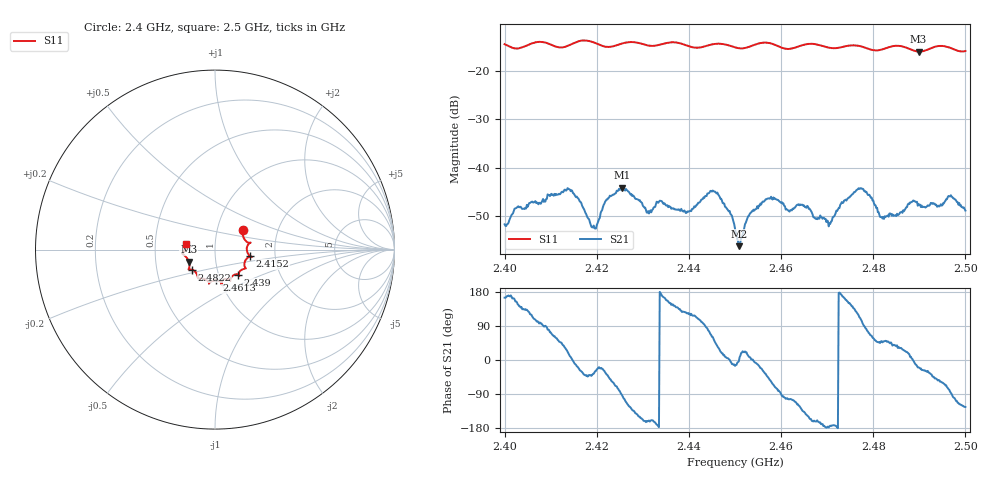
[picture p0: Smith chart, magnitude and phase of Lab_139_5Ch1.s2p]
# Hz S RI R 50
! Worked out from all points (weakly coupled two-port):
!   601 points, 2.4 GHz to 2.5 GHz, reference 50 ohm
!   highest |S21| = -44.22 dB at 2.4255 GHz (marker M1); lowest = -56.3 dB at 2.4508 GHz (marker M2)
!   lowest |S11| = -15.9 dB at 2.4898 GHz (marker M3), VSWR 1.38, Z = 37 - j5.04 ohm
!   |S11| at or under -10 dB: start of sweep to end of sweep
!   S12 and S22 are empty: the file has one direction only
!   S11 on the Smith chart (normalised r, x): 2.4 GHz: 1.33, +0.31; 2.4152 GHz: 1.48, -0.11; 2.439 GHz: 1.24, -0.36; 2.4613 GHz: 0.96, -0.34; 2.4822 GHz: 0.76, -0.17; 2.5 GHz: 0.72, +0.05
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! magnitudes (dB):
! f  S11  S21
! 2.4 GHz  -14.4  -51.8
! 2.4027 GHz  -15.3  -48.3
! 2.4152 GHz  -14.1  -45.7
! 2.4167 GHz  -13.6  -47.4
! 2.4195 GHz  -14.0  -52.6
! 2.4255 GHz  -14.2  -44.2
! 2.4313 GHz  -14.7  -49.6
! 2.4333 GHz  -14.5  -47.3
! 2.439 GHz  -14.5  -48.9
! 2.4457 GHz  -14.3  -45.0
! 2.45 GHz  -15.0  -52.7
! 2.4508 GHz  -15.2  -56.3
! 2.4565 GHz  -14.0  -46.8
! 2.4613 GHz  -15.3  -48.7
! 2.4667 GHz  -14.3  -49.3
! 2.4705 GHz  -15.1  -51.6
! 2.4773 GHz  -14.8  -44.3
! 2.4822 GHz  -15.4  -50.3
! 2.4833 GHz  -15.0  -50.2
! 2.4898 GHz  -15.9  -47.6
! 2.4967 GHz  -15.1  -46.0
! 2.5 GHz  -15.8  -48.9
